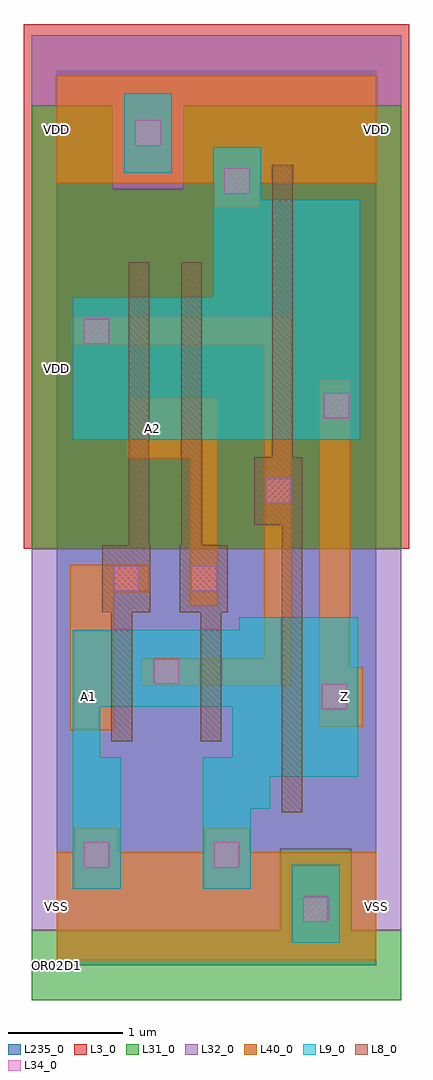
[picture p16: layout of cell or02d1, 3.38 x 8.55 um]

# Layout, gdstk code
import gdstk
lib = gdstk.Library(unit=1e-6, precision=1e-09)
def R(c, l, rs):  # rectangles x0, y0, x1, y1
    for r in rs: c.add(gdstk.rectangle(r[:2], r[2:], *l))
def P(c, l, *ps):  # polygons
    for p in ps: c.add(gdstk.Polygon(p, *l))
L3_0 = (3, 0)
L8_0 = (8, 0)
L9_0 = (9, 0)
L31_0 = (31, 0)
L32_0 = (32, 0)
L34_0 = (34, 0)
L40_0 = (40, 0)
L235_0 = (235, 0)

or02d1 = lib.new_cell('or02d1')
R(or02d1, L3_0, [(-0.29,3.65,3.09,8.245)])
P(or02d1, L8_0, [(2.15,4.45),(2.07,4.45),(2.07,7.01),(1.89,7.01),(1.89,4.45),(1.73,4.45),(1.73,3.86),(1.97,3.86),(1.97,1.34),(2.15,1.34)],
  [(1.44,3.09),(1.5,3.09),(1.5,3.68),(1.27,3.68),(1.27,6.16),(1.09,6.16),(1.09,3.68),(1.08,3.68),(1.08,3.09),(1.26,3.09),(1.26,1.96),(1.44,1.96)],
  [(0.66,3.09),(0.82,3.09),(0.82,3.68),(0.81,3.68),(0.81,6.16),(0.63,6.16),(0.63,3.68),(0.4,3.68),(0.4,3.09),(0.48,3.09),(0.48,1.96),(0.66,1.96)])
R(or02d1, L9_0, [(2.06,0.195,2.48,0.88), (0.59,6.94,1.01,7.64)])
P(or02d1, L9_0, [(2.64,3.05),(2.64,1.65),(1.87,1.65),(1.87,1.37),(1.7,1.37),(1.7,0.67),(1.28,0.67),(1.28,1.82),(1.54,1.82),(1.54,2.265),(0.38,2.265),(0.38,1.82),(0.56,1.82),(0.56,0.67),(0.14,0.67),(0.14,2.94),(1.6,2.94),(1.6,3.05)],
  [(1.79,7.165),(1.79,6.705),(2.66,6.705),(2.66,4.605),(0.14,4.605),(0.14,5.85),(1.37,5.85),(1.37,7.165)])
P(or02d1, L31_0, [(2.58,1.02),(2.58,0.305),(3.02,0.305),(3.02,-0.305),(-0.22,-0.305),(-0.22,0.305),(1.96,0.305),(1.96,1.02)],
  [(3.02,7.53),(3.02,3.65),(-0.22,3.65),(-0.22,7.53),(0.49,7.53),(0.49,6.8),(1.11,6.8),(1.11,7.53)])
P(or02d1, L32_0, [(3.02,3.65),(3.02,0.305),(2.58,0.305),(2.58,1.02),(1.96,1.02),(1.96,0.305),(-0.22,0.305),(-0.22,3.65)],
  [(3.02,8.145),(3.02,7.53),(1.11,7.53),(1.11,6.8),(0.49,6.8),(0.49,7.53),(-0.22,7.53),(-0.22,8.145)])
R(or02d1, L34_0, [(2.16,0.38,2.38,0.6), (0.24,0.855,0.46,1.075), (1.38,0.855,1.6,1.075), (2.32,2.24,2.54,2.46), (0.85,2.465,1.07,2.685), (0.5,3.275,0.72,3.495), (1.18,3.275,1.4,3.495), (1.83,4.045,2.05,4.265), (2.34,4.79,2.56,5.01), (0.24,5.445,0.46,5.665), (1.47,6.76,1.69,6.98), (0.69,7.18,0.91,7.4)])
P(or02d1, L40_0, [(0,6.85),(1.38,6.85),(1.38,6.64),(1.78,6.64),(1.78,6.85),(2.8,6.85),(2.8,7.79),(0,7.79)],
  [(0.15,5.435),(1.82,5.435),(1.82,2.695),(0.74,2.695),(0.74,2.45),(2.06,2.45),(2.06,5.68),(0.15,5.68)],
  [(0.62,4.44),(1.17,4.44),(1.17,3.15),(1.41,3.15),(1.41,4.965),(0.62,4.965)],
  [(0.12,2.06),(0.5,2.06),(0.5,3.265),(0.81,3.265),(0.81,3.51),(0.12,3.51)],
  [(2.3,5.13),(2.3,2.09),(2.68,2.09),(2.68,2.61),(2.57,2.61),(2.57,5.13)],
  [(1.29,1.2),(1.29,0.99),(0.55,0.99),(0.55,1.2),(0.15,1.2),(0.15,0.99),(0,0.99),(0,0.045),(2.8,0.045),(2.8,0.99),(1.69,0.99),(1.69,1.2)])
R(or02d1, L235_0, [(0,0,2.8,7.84)])
or02d1.add(gdstk.Label('VDD', (0,5.23), layer=40, texttype=7))
or02d1.add(gdstk.Label('VDD', (0,5.23), layer=40, texttype=7))
or02d1.add(gdstk.Label('VDD', (0,5.23), layer=40, texttype=7))
or02d1.add(gdstk.Label('VDD', (0,5.23), layer=40, texttype=7))
or02d1.add(gdstk.Label('VDD', (0,5.23), layer=40, texttype=7))
or02d1.add(gdstk.Label('Copyright (c) 2003, 2004 Synopsys, Inc.', (0,-2.24), layer=96, texttype=0))
or02d1.add(gdstk.Label('DT. 10-Sep-2002 16:46:40', (0,-1.68), layer=96, texttype=0))
or02d1.add(gdstk.Label('Rev. 1', (0,-1.12), layer=96, texttype=0))
or02d1.add(gdstk.Label('2-INPUT OR, 1X DRIVE', (0,-0.56), layer=96, texttype=0))
or02d1.add(gdstk.Label('OR02D1', (0,0), layer=96, texttype=0))
or02d1.add(gdstk.Label('A2', (0.84,4.7), layer=40, texttype=7))
or02d1.add(gdstk.Label('Z', (2.52,2.35), layer=40, texttype=7))
or02d1.add(gdstk.Label('A1', (0.28,2.35), layer=40, texttype=7))
or02d1.add(gdstk.Label('VSS', (2.8,0.515), layer=40, texttype=7))
or02d1.add(gdstk.Label('VDD', (2.8,7.32), layer=40, texttype=7))
or02d1.add(gdstk.Label('VSS', (0,0.515), layer=40, texttype=7))
or02d1.add(gdstk.Label('VDD', (0,7.32), layer=40, texttype=7))

lib.write_gds('or02d1.gds')
